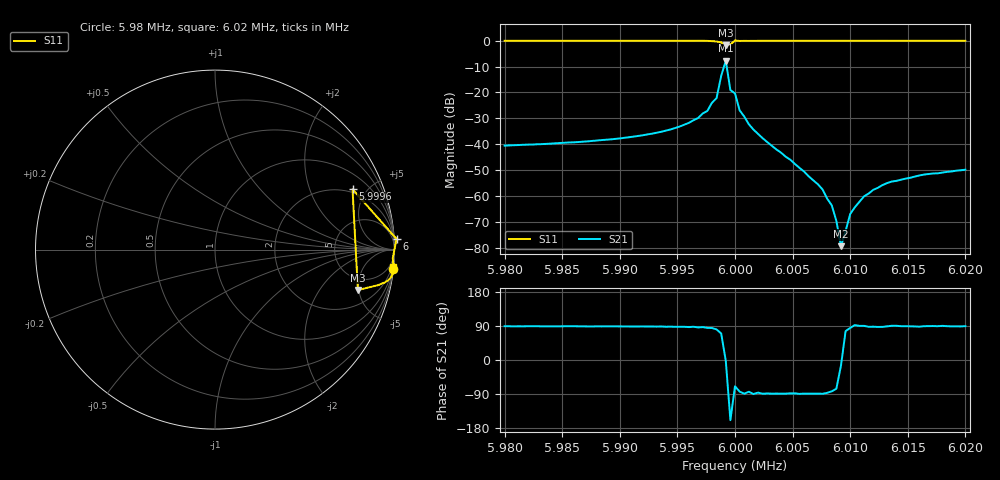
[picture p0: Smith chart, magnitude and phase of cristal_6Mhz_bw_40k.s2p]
# HZ S RI R 50
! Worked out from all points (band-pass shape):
!   101 points, 5.98 MHz to 6.02 MHz, reference 50 ohm
!   highest |S21| = -7.74 dB at 5.9992 MHz (marker M1); lowest = -79.4 dB at 6.0092 MHz (marker M2)
!   |S21| within 3 dB of the highest: 5.998995 MHz to 5.999306 MHz (310.4 Hz wide, 0.00517 % of centre)
!   lowest |S11| = -1.6 dB at 5.9992 MHz (marker M3), VSWR 10.58, Z = 171 - j244 ohm
!   |S11| at or under -10 dB: nowhere
!   S12 and S22 are empty: the file has one direction only
!   S11 on the Smith chart (normalised r, x): 5.98 MHz: 0, -19; 5.9996 MHz: 1.79, +4.01; 6 MHz: -7, +32; 6.02 MHz: 0, -20
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5980000  0.9922 -0.1057  0.00015 0.00936  0 0  0 0
5986800  0.9919 -0.1077  0.000243 0.0112  0 0  0 0
5993600  0.9906 -0.1146  0.000466 0.0173  0 0  0 0
5996000  0.9891 -0.1232  0.00142 0.0258  0 0  0 0
5997600  0.9822 -0.1522  0.00405 0.0438  0 0  0 0
5998400  0.9478 -0.1821  0.0126 0.0769  0 0  0 0
5998800  0.9078 -0.1983  0.0711 0.1963  0 0  0 0
5999200  0.7961 -0.2252  0.4099 -0.0146  0 0  0 0
5999600  0.7661 0.3365  -0.1037 -0.0403  0 0  0 0
6000000  1.011 0.0594  0.034 -0.0898  0 0  0 0
6000400  0.9903 -0.0484  0.00528 -0.0449  0 0  0 0
6001600  0.9922 -0.0724  6.73e-05 -0.0192  0 0  0 0
6006800  0.9934 -0.0931  3.95e-05 -0.00199  0 0  0 0
6007600  0.9931 -0.0942  1.9e-05 -0.00133  0 0  0 0
6008400  0.9933 -0.0949  8.33e-05 -0.000651  0 0  0 0
6008800  0.9934 -0.0951  8.08e-05 -0.000318  0 0  0 0
6009200  0.9934 -0.0953  0.000103 -2.7e-05  0 0  0 0
6010000  0.9931 -0.0958  4.17e-05 0.000444  0 0  0 0
6010400  0.9931 -0.0961  -2.25e-05 0.000602  0 0  0 0
6012000  0.9931 -0.097  4.91e-05 0.00131  0 0  0 0
6013600  0.993 -0.0975  -9.29e-06 0.00189  0 0  0 0
6020000  0.9929 -0.0991  4.16e-05 0.00321  0 0  0 0
